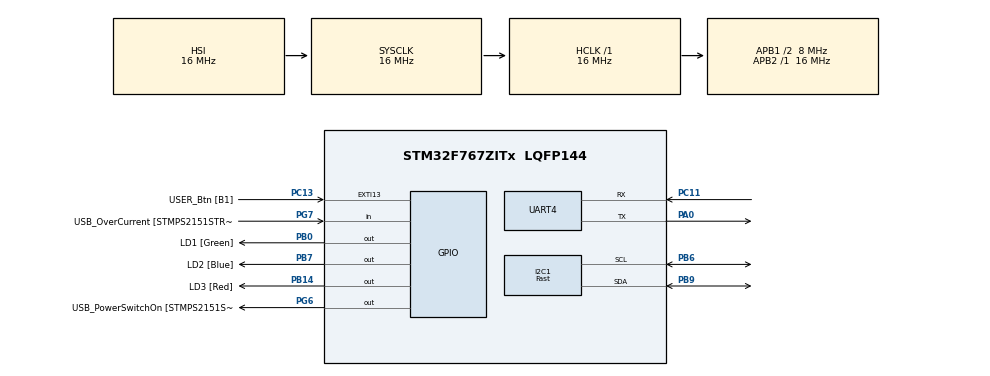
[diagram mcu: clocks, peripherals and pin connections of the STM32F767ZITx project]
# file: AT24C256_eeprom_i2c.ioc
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I2C1.I2C_Speed_Mode=I2C_Fast
I2C1.Timing=0x0000020B
Mcu.Family=STM32F7
Mcu.Name=STM32F767ZITx
Mcu.Package=LQFP144
NVIC.PriorityGroup=NVIC_PRIORITYGROUP_4
PA0/WKUP.Mode=Asynchronous
PA0/WKUP.Signal=UART4_TX
PA1.GPIO_Label=RMII_REF_CLK [LAN8742A-CZ-TR_REFCLK0]
PA1.Signal=ETH_REF_CLK
PA10.GPIO_Label=USB_ID
PA10.Signal=USB_OTG_FS_ID
PA11.GPIO_Label=USB_DM
PA11.Signal=USB_OTG_FS_DM
PA12.GPIO_Label=USB_DP
PA12.Signal=USB_OTG_FS_DP
PA13.GPIO_Label=TMS
PA13.Signal=SYS_JTMS-SWDIO
PA14.GPIO_Label=TCK
PA14.Signal=SYS_JTCK-SWCLK
PA2.GPIO_Label=RMII_MDIO [LAN8742A-CZ-TR_MDIO]
PA2.Signal=ETH_MDIO
PA7.GPIO_Label=RMII_CRS_DV [LAN8742A-CZ-TR_CRS_DV]
PA7.Signal=ETH_CRS_DV
PA8.GPIO_Label=USB_SOF [TP1]
PA8.Signal=USB_OTG_FS_SOF
PA9.GPIO_Label=USB_VBUS
PA9.Signal=USB_OTG_FS_VBUS
PB0.GPIO_Label=LD1 [Green]
PB0.Signal=GPIO_Output
PB13.GPIO_Label=RMII_TXD1 [LAN8742A-CZ-TR_TXD1]
PB13.Signal=ETH_TXD1
PB14.GPIO_Label=LD3 [Red]
PB14.Signal=GPIO_Output
PB3.GPIO_Label=SW0
PB3.Signal=SYS_JTDO-SWO
PB6.Mode=I2C
PB6.Signal=I2C1_SCL
PB7.GPIO_Label=LD2 [Blue]
PB7.Signal=GPIO_Output
PB9.Mode=I2C
PB9.Signal=I2C1_SDA
PC1.GPIO_Label=RMII_MDC [LAN8742A-CZ-TR_MDC]
PC1.Signal=ETH_MDC
PC11.Mode=Asynchronous
PC11.Signal=UART4_RX
PC13.GPIO_Label=USER_Btn [B1]
PC13.Signal=GPXTI13
PC14/OSC32_IN.Signal=RCC_OSC32_IN
PC15/OSC32_OUT.Signal=RCC_OSC32_OUT
PC4.GPIO_Label=RMII_RXD0 [LAN8742A-CZ-TR_RXD0]
PC4.Signal=ETH_RXD0
PC5.GPIO_Label=RMII_RXD1 [LAN8742A-CZ-TR_RXD1]
PC5.Signal=ETH_RXD1
PD8.GPIO_Label=STLK_RX [STM32F103CBT6_PA3]
PD8.Signal=USART3_TX
PD9.GPIO_Label=STLK_TX [STM32F103CBT6_PA2]
PD9.Signal=USART3_RX
PG11.GPIO_Label=RMII_TX_EN [LAN8742A-CZ-TR_TXEN]
PG11.Signal=ETH_TX_EN
PG13.GPIO_Label=RMII_TXD0 [LAN8742A-CZ-TR_TXD0]
PG13.Signal=ETH_TXD0
PG6.GPIO_Label=USB_PowerSwitchOn [STMPS2151STR_EN]
PG6.Signal=GPIO_Output
PG7.GPIO_Label=USB_OverCurrent [STMPS2151STR_FAULT]
PG7.Signal=GPIO_Input
PH0/OSC_IN.GPIO_Label=MCO [STM32F103CBT6_PA8]
PH0/OSC_IN.Signal=RCC_OSC_IN
PH1/OSC_OUT.Signal=RCC_OSC_OUT
ProjectManager.HeapSize=0x200
ProjectManager.StackSize=0x400
ProjectManager.TargetToolchain=STM32CubeIDE
RCC.48MHZClocksFreq_Value=24000000
RCC.AHBFreq_Value=16000000
RCC.APB1CLKDivider=RCC_HCLK_DIV2
RCC.APB1Freq_Value=8000000
RCC.APB1TimFreq_Value=16000000
RCC.APB2Freq_Value=16000000
RCC.APB2TimFreq_Value=16000000
RCC.CortexFreq_Value=16000000
RCC.HCLKFreq_Value=16000000
RCC.HSE_VALUE=16000000
RCC.HSI_VALUE=16000000
RCC.LSE_VALUE=32768
RCC.PLLMUL=RCC_PLL_MUL9
RCC.PRESCALERUSB=RCC_USBCLKSOURCE_PLL_DIV1_5
RCC.SYSCLKFreq_VALUE=16000000
RCC.SYSCLKSourceVirtual=RCC_SYSCLKSOURCE_PLLCLK
RCC.USBFreq_Value=96000000
RCC.VCOOutputFreq_Value=192000000
board=NUCLEO-F767ZI

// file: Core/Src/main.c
/* USER CODE BEGIN Header */
/**
  ******************************************************************************
  * @file           : main.c
  * @brief          : Main program body
  ******************************************************************************
  * @attention
  *
  * Copyright (c) 2024 STMicroelectronics.
  * All rights reserved.
  *
  * This software is licensed under terms that can be found in the LICENSE file
  * in the root directory of this software component.
  * If no LICENSE file comes with this software, it is provided AS-IS.
  *
  ******************************************************************************
  */
/* USER CODE END Header */
#include "main.h"

/* USER CODE BEGIN Includes */
#include "string.h"
#include "EEPROM.h"

/* USER CODE END Includes */

I2C_HandleTypeDef hi2c1;

UART_HandleTypeDef huart4;

void SystemClock_Config(void);
static void MX_GPIO_Init(void);
static void MX_I2C1_Init(void);
static void MX_UART4_Init(void);

/* USER CODE BEGIN 0 */
#define DEV_ADDR 0xa0
uint8_t dataw1[] = "hello from STM32 to EEPROM!";
uint8_t dataw2[] = "goodbye from STM32 to EEPROM!";

uint8_t datar1[100];
uint8_t datar2[100];

void print_to_uart(uint8_t* str){
	HAL_UART_Transmit(&huart4, str, strlen(str), 500);
	HAL_UART_Transmit(&huart4, "\r\n", 2, 500);
}

/* USER CODE END 0 */

int main(void)
{

  /* MCU Configuration--------------------------------------------------------*/

  /* Reset of all peripherals, Initializes the Flash interface and the Systick. */
  HAL_Init();

  /* Configure the system clock */
  SystemClock_Config();

  /* Initialize all configured peripherals */
  MX_GPIO_Init();
  MX_I2C1_Init();
  MX_UART4_Init();
  /* USER CODE BEGIN 2 */

  for (int i = 0; i < PAGE_SIZE; i++){
	  eeprom_erasepage(&hi2c1, i);
  }

  eeprom_write_bytes(&hi2c1, 26, 7, dataw1, strlen((char *)dataw1));

  eeprom_write_bytes(&hi2c1, 42, 20, dataw2, strlen((char *)dataw2));

  eeprom_read_bytes(&hi2c1, 26, 0, datar1, 50);

  eeprom_read_bytes(&hi2c1, 42, 15, datar2, 50);

  /* USER CODE END 2 */

  /* Infinite loop */
  /* USER CODE BEGIN WHILE */

  while (1)
  {
	HAL_GPIO_TogglePin(GPIOB, GPIO_PIN_7);
	HAL_Delay(1000);

	print_to_uart(&datar1);
	print_to_uart(&datar2);

    /* USER CODE END WHILE */

  }
}

void SystemClock_Config(void)
{
  RCC_OscInitTypeDef RCC_OscInitStruct = {0};
  RCC_ClkInitTypeDef RCC_ClkInitStruct = {0};

  /** Configure the main internal regulator output voltage
  */
  __HAL_RCC_PWR_CLK_ENABLE();
  __HAL_PWR_VOLTAGESCALING_CONFIG(PWR_REGULATOR_VOLTAGE_SCALE3);

  /** Initializes the RCC Oscillators according to the specified parameters
  * in the RCC_OscInitTypeDef structure.
  */
  RCC_OscInitStruct.OscillatorType = RCC_OSCILLATORTYPE_HSI;
  RCC_OscInitStruct.HSIState = RCC_HSI_ON;
  RCC_OscInitStruct.HSICalibrationValue = RCC_HSICALIBRATION_DEFAULT;
  RCC_OscInitStruct.PLL.PLLState = RCC_PLL_NONE;
  if (HAL_RCC_OscConfig(&RCC_OscInitStruct) != HAL_OK)
  {
    Error_Handler();
  }

  /** Initializes the CPU, AHB and APB buses clocks
  */
  RCC_ClkInitStruct.ClockType = RCC_CLOCKTYPE_HCLK|RCC_CLOCKTYPE_SYSCLK
                              |RCC_CLOCKTYPE_PCLK1|RCC_CLOCKTYPE_PCLK2;
  RCC_ClkInitStruct.SYSCLKSource = RCC_SYSCLKSOURCE_HSI;
  RCC_ClkInitStruct.AHBCLKDivider = RCC_SYSCLK_DIV1;
  RCC_ClkInitStruct.APB1CLKDivider = RCC_HCLK_DIV2;
  RCC_ClkInitStruct.APB2CLKDivider = RCC_HCLK_DIV1;

  if (HAL_RCC_ClockConfig(&RCC_ClkInitStruct, FLASH_LATENCY_0) != HAL_OK)
  {
    Error_Handler();
  }
}

static void MX_I2C1_Init(void)
{

  hi2c1.Instance = I2C1;
  hi2c1.Init.Timing = 0x0000020B;
  hi2c1.Init.OwnAddress1 = 0;
  hi2c1.Init.AddressingMode = I2C_ADDRESSINGMODE_7BIT;
  hi2c1.Init.DualAddressMode = I2C_DUALADDRESS_DISABLE;
  hi2c1.Init.OwnAddress2 = 0;
  hi2c1.Init.OwnAddress2Masks = I2C_OA2_NOMASK;
  hi2c1.Init.GeneralCallMode = I2C_GENERALCALL_DISABLE;
  hi2c1.Init.NoStretchMode = I2C_NOSTRETCH_DISABLE;
  if (HAL_I2C_Init(&hi2c1) != HAL_OK)
  {
    Error_Handler();
  }

  /** Configure Analogue filter
  */
  if (HAL_I2CEx_ConfigAnalogFilter(&hi2c1, I2C_ANALOGFILTER_ENABLE) != HAL_OK)
  {
    Error_Handler();
  }

  /** Configure Digital filter
  */
  if (HAL_I2CEx_ConfigDigitalFilter(&hi2c1, 0) != HAL_OK)
  {
    Error_Handler();
  }

}

static void MX_UART4_Init(void)
{

  huart4.Instance = UART4;
  huart4.Init.BaudRate = 115200;
  huart4.Init.WordLength = UART_WORDLENGTH_8B;
  huart4.Init.StopBits = UART_STOPBITS_1;
  huart4.Init.Parity = UART_PARITY_NONE;
  huart4.Init.Mode = UART_MODE_TX_RX;
  huart4.Init.HwFlowCtl = UART_HWCONTROL_NONE;
  huart4.Init.OverSampling = UART_OVERSAMPLING_16;
  huart4.Init.OneBitSampling = UART_ONE_BIT_SAMPLE_DISABLE;
  huart4.AdvancedInit.AdvFeatureInit = UART_ADVFEATURE_NO_INIT;
  if (HAL_UART_Init(&huart4) != HAL_OK)
  {
    Error_Handler();
  }

}

static void MX_GPIO_Init(void)
{
  GPIO_InitTypeDef GPIO_InitStruct = {0};

  /* GPIO Ports Clock Enable */
  __HAL_RCC_GPIOC_CLK_ENABLE();
  __HAL_RCC_GPIOH_CLK_ENABLE();
  __HAL_RCC_GPIOA_CLK_ENABLE();
  __HAL_RCC_GPIOB_CLK_ENABLE();
  __HAL_RCC_GPIOD_CLK_ENABLE();
  __HAL_RCC_GPIOG_CLK_ENABLE();

  /*Configure GPIO pin Output Level */
  HAL_GPIO_WritePin(GPIOB, LD1_Pin|LD3_Pin|LD2_Pin, GPIO_PIN_RESET);

  /*Configure GPIO pin Output Level */
  HAL_GPIO_WritePin(USB_PowerSwitchOn_GPIO_Port, USB_PowerSwitchOn_Pin, GPIO_PIN_RESET);

  /*Configure GPIO pin : USER_Btn_Pin */
  GPIO_InitStruct.Pin = USER_Btn_Pin;
  GPIO_InitStruct.Mode = GPIO_MODE_IT_RISING;
  GPIO_InitStruct.Pull = GPIO_NOPULL;
  HAL_GPIO_Init(USER_Btn_GPIO_Port, &GPIO_InitStruct);

  /*Configure GPIO pins : RMII_MDC_Pin RMII_RXD0_Pin RMII_RXD1_Pin */
  GPIO_InitStruct.Pin = RMII_MDC_Pin|RMII_RXD0_Pin|RMII_RXD1_Pin;
  GPIO_InitStruct.Mode = GPIO_MODE_AF_PP;
  GPIO_InitStruct.Pull = GPIO_NOPULL;
  GPIO_InitStruct.Speed = GPIO_SPEED_FREQ_VERY_HIGH;
  GPIO_InitStruct.Alternate = GPIO_AF11_ETH;
  HAL_GPIO_Init(GPIOC, &GPIO_InitStruct);

  /*Configure GPIO pins : RMII_REF_CLK_Pin RMII_MDIO_Pin RMII_CRS_DV_Pin */
  GPIO_InitStruct.Pin = RMII_REF_CLK_Pin|RMII_MDIO_Pin|RMII_CRS_DV_Pin;
  GPIO_InitStruct.Mode = GPIO_MODE_AF_PP;
  GPIO_InitStruct.Pull = GPIO_NOPULL;
  GPIO_InitStruct.Speed = GPIO_SPEED_FREQ_VERY_HIGH;
  GPIO_InitStruct.Alternate = GPIO_AF11_ETH;
  HAL_GPIO_Init(GPIOA, &GPIO_InitStruct);

  /*Configure GPIO pins : LD1_Pin LD3_Pin LD2_Pin */
  GPIO_InitStruct.Pin = LD1_Pin|LD3_Pin|LD2_Pin;
  GPIO_InitStruct.Mode = GPIO_MODE_OUTPUT_PP;
  GPIO_InitStruct.Pull = GPIO_NOPULL;
  GPIO_InitStruct.Speed = GPIO_SPEED_FREQ_LOW;
  HAL_GPIO_Init(GPIOB, &GPIO_InitStruct);

  /*Configure GPIO pin : RMII_TXD1_Pin */
  GPIO_InitStruct.Pin = RMII_TXD1_Pin;
  GPIO_InitStruct.Mode = GPIO_MODE_AF_PP;
  GPIO_InitStruct.Pull = GPIO_NOPULL;
  GPIO_InitStruct.Speed = GPIO_SPEED_FREQ_VERY_HIGH;
  GPIO_InitStruct.Alternate = GPIO_AF11_ETH;
  HAL_GPIO_Init(RMII_TXD1_GPIO_Port, &GPIO_InitStruct);

  /*Configure GPIO pins : STLK_RX_Pin STLK_TX_Pin */
  GPIO_InitStruct.Pin = STLK_RX_Pin|STLK_TX_Pin;
  GPIO_InitStruct.Mode = GPIO_MODE_AF_PP;
  GPIO_InitStruct.Pull = GPIO_NOPULL;
  GPIO_InitStruct.Speed = GPIO_SPEED_FREQ_VERY_HIGH;
  GPIO_InitStruct.Alternate = GPIO_AF7_USART3;
  HAL_GPIO_Init(GPIOD, &GPIO_InitStruct);

  /*Configure GPIO pin : USB_PowerSwitchOn_Pin */
  GPIO_InitStruct.Pin = USB_PowerSwitchOn_Pin;
  GPIO_InitStruct.Mode = GPIO_MODE_OUTPUT_PP;
  GPIO_InitStruct.Pull = GPIO_NOPULL;
  GPIO_InitStruct.Speed = GPIO_SPEED_FREQ_LOW;
  HAL_GPIO_Init(USB_PowerSwitchOn_GPIO_Port, &GPIO_InitStruct);

  /*Configure GPIO pin : USB_OverCurrent_Pin */
  GPIO_InitStruct.Pin = USB_OverCurrent_Pin;
  GPIO_InitStruct.Mode = GPIO_MODE_INPUT;
  GPIO_InitStruct.Pull = GPIO_NOPULL;
  HAL_GPIO_Init(USB_OverCurrent_GPIO_Port, &GPIO_InitStruct);

  /*Configure GPIO pins : USB_SOF_Pin USB_ID_Pin USB_DM_Pin USB_DP_Pin */
  GPIO_InitStruct.Pin = USB_SOF_Pin|USB_ID_Pin|USB_DM_Pin|USB_DP_Pin;
  GPIO_InitStruct.Mode = GPIO_MODE_AF_PP;
  GPIO_InitStruct.Pull = GPIO_NOPULL;
  GPIO_InitStruct.Speed = GPIO_SPEED_FREQ_VERY_HIGH;
  GPIO_InitStruct.Alternate = GPIO_AF10_OTG_FS;
  HAL_GPIO_Init(GPIOA, &GPIO_InitStruct);

  /*Configure GPIO pin : USB_VBUS_Pin */
  GPIO_InitStruct.Pin = USB_VBUS_Pin;
  GPIO_InitStruct.Mode = GPIO_MODE_INPUT;
  GPIO_InitStruct.Pull = GPIO_NOPULL;
  HAL_GPIO_Init(USB_VBUS_GPIO_Port, &GPIO_InitStruct);

  /*Configure GPIO pins : RMII_TX_EN_Pin RMII_TXD0_Pin */
  GPIO_InitStruct.Pin = RMII_TX_EN_Pin|RMII_TXD0_Pin;
  GPIO_InitStruct.Mode = GPIO_MODE_AF_PP;
  GPIO_InitStruct.Pull = GPIO_NOPULL;
  GPIO_InitStruct.Speed = GPIO_SPEED_FREQ_VERY_HIGH;
  GPIO_InitStruct.Alternate = GPIO_AF11_ETH;
  HAL_GPIO_Init(GPIOG, &GPIO_InitStruct);

}

void Error_Handler(void)
{
  __disable_irq();
  while (1)
  {
  }
}
